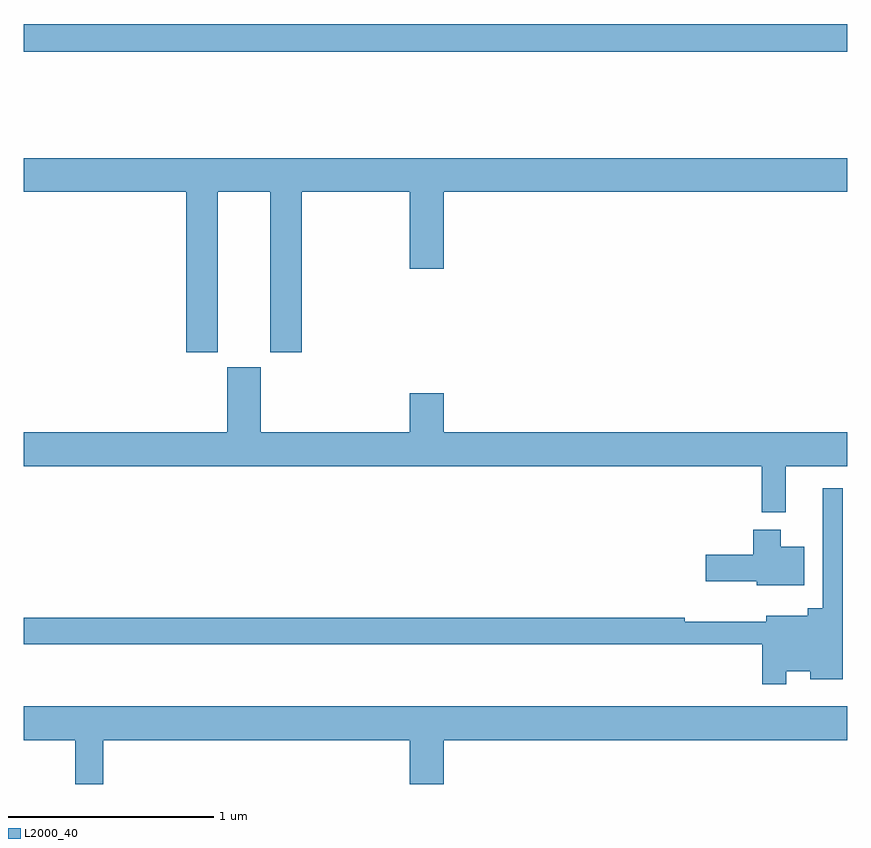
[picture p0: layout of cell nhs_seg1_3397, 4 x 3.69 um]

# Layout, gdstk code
import gdstk
lib = gdstk.Library(unit=1e-6, precision=1e-09)
def R(c, l, rs):  # rectangles x0, y0, x1, y1
    for r in rs: c.add(gdstk.rectangle(r[:2], r[2:], *l))
def P(c, l, *ps):  # polygons
    for p in ps: c.add(gdstk.Polygon(p, *l))
L2000_40 = (2000, 40)

nhs_seg1_3397 = lib.new_cell('nhs_seg1_3397')
R(nhs_seg1_3397, L2000_40, [(295,541.756,299,541.892)])
P(nhs_seg1_3397, L2000_40, [(295.942,541.076),(296.198,541.076),(296.198,540.297),(296.351,540.297),(296.351,541.076),(296.876,541.076),(296.876,540.702),(297.04,540.702),(297.04,541.076),(299,541.076),(299,541.24),(295,541.24),(295,541.076),(295.79,541.076),(295.79,540.297),(295.942,540.297)],
  [(298.703,539.744),(299,539.744),(299,539.908),(297.04,539.908),(297.04,540.097),(296.876,540.097),(296.876,539.908),(296.152,539.908),(296.152,540.225),(295.988,540.225),(295.988,539.908),(295,539.908),(295,539.744),(298.585,539.744),(298.585,539.519),(298.703,539.519)],
  [(298.704,538.748),(298.82,538.748),(298.82,538.709),(298.978,538.709),(298.978,539.635),(298.881,539.635),(298.881,539.053),(298.808,539.053),(298.808,539.017),(298.607,539.017),(298.607,538.988),(298.211,538.988),(298.211,539.006),(295,539.006),(295,538.878),(298.588,538.878),(298.588,538.683),(298.704,538.683)],
  [(298.792,539.353),(298.678,539.353),(298.678,539.434),(298.544,539.434),(298.544,539.313),(298.314,539.313),(298.314,539.183),(298.56,539.183),(298.56,539.165),(298.792,539.165)],
  [(295.385,538.412),(296.876,538.412),(296.876,538.199),(297.04,538.199),(297.04,538.412),(299,538.412),(299,538.576),(295,538.576),(295,538.412),(295.249,538.412),(295.249,538.199),(295.385,538.199)])

lib.write_gds('nhs_seg1_3397.gds')
